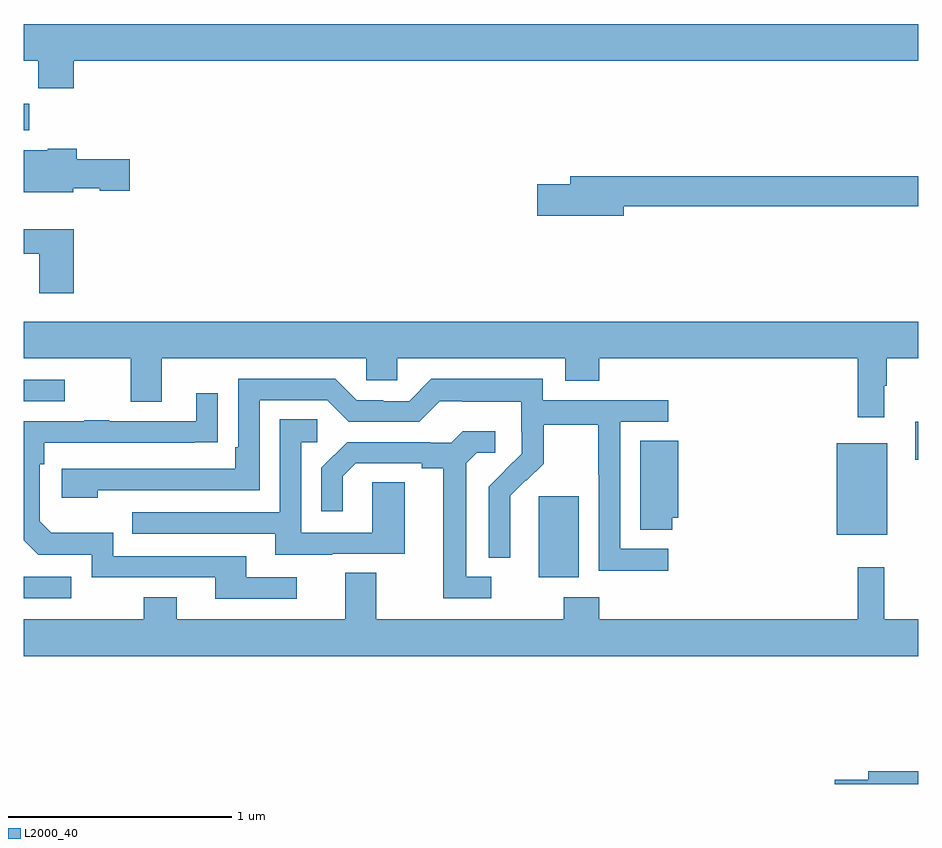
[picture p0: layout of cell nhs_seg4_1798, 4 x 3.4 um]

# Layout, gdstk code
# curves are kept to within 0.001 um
import gdstk
lib = gdstk.Library(unit=1e-6, precision=1e-09)
def R(c, l, rs):  # rectangles x0, y0, x1, y1
    for r in rs: c.add(gdstk.rectangle(r[:2], r[2:], *l))
def P(c, l, *ps):  # polygons
    for p in ps: c.add(gdstk.Polygon(p, *l))
L2000_40 = (2000, 40)

nhs_seg4_1798 = lib.new_cell('nhs_seg4_1798')
R(nhs_seg4_1798, L2000_40, [(203,811.731,203.212,811.827), (205.304,811.826,205.483,812.187), (206.636,812.015,206.863,812.425), (206.987,812.351,207,812.521), (203,812.613,203.182,812.709), (203,813.824,203.024,813.943)])
P(nhs_seg4_1798, L2000_40, [(203.222,814.136),(207,814.136),(207,814.3),(203,814.3),(203,814.136),(203.065,814.136),(203.065,814.012),(203.222,814.012)],
  [(203.22,813.566),(203.34,813.566),(203.34,813.554),(203.473,813.554),(203.473,813.696),(203.237,813.696),(203.237,813.742),(203.106,813.742),(203.106,813.736),(203,813.736),(203,813.548),(203.22,813.548)],
  [(205.684,813.484),(207,813.484),(207,813.62),(205.445,813.62),(205.445,813.584),(205.296,813.584),(205.296,813.442),(205.684,813.442)],
  [(203.222,813.382),(203,813.382),(203,813.273),(203.069,813.273),(203.069,813.096),(203.222,813.096)],
  [(206.848,812.681),(206.86,812.681),(206.86,812.804),(207,812.804),(207,812.968),(203,812.968),(203,812.804),(203.477,812.804),(203.477,812.61),(203.617,812.61),(203.617,812.804),(204.531,812.804),(204.531,812.706),(204.669,812.706),(204.669,812.804),(205.421,812.804),(205.421,812.705),(205.574,812.705),(205.574,812.804),(206.731,812.804),(206.731,812.541),(206.848,812.541)],
  [(205.882,811.953),(205.668,811.953),(205.668,812.52),(205.882,812.52),(205.882,812.616),(205.32,812.616),(205.32,812.713),(204.823,812.713),(204.723,812.613),(204.608,812.613),(204.608,812.616),(204.489,812.616),(204.393,812.712),(203.958,812.712),(203.958,812.407),(203.945,812.407),(203.945,812.31),(203.169,812.31),(203.169,812.18),(203.33,812.18),(203.33,812.214),(204.054,812.214),(204.054,812.616),(204.357,812.616),(204.453,812.52),(204.768,812.52),(204.861,812.613),(204.961,812.613),(204.961,812.609),(205.224,812.609),(205.224,812.475),(205.226,812.475),(205.226,812.378),(205.08,812.23),(205.08,811.912),(205.176,811.912),(205.175,812.189),(205.245,812.259),(205.248,812.256),(205.325,812.333),(205.325,812.508),(205.57,812.508),(205.57,812.284),(205.572,812.284),(205.572,811.855),(205.882,811.855)],
  [(204.22,811.824),(203.995,811.824),(203.995,811.92),(203.4,811.92),(203.4,812.023),(203.123,812.023),(203.07,812.076),(203.07,812.33),(203.09,812.33),(203.09,812.427),(203.867,812.428),(203.867,812.647),(203.771,812.647),(203.771,812.523),(203.381,812.523),(203.381,812.528),(203.269,812.528),(203.269,812.523),(203,812.523),(203,811.99),(203.064,811.926),(203.304,811.926),(203.304,811.824),(203.855,811.824),(203.855,811.728),(204.22,811.728)],
  [(204.379,811.929),(204.703,811.929),(204.703,812.249),(204.558,812.249),(204.558,812.025),(204.24,812.025),(204.24,812.43),(204.313,812.43),(204.313,812.531),(204.144,812.531),(204.144,812.115),(203.485,812.115),(203.485,812.019),(204.125,812.019),(204.125,811.925),(204.379,811.925)],
  [(205.09,811.827),(204.979,811.827),(204.979,812.335),(205.026,812.382),(205.108,812.382),(205.108,812.479),(204.964,812.479),(204.912,812.427),(204.818,812.427),(204.818,812.43),(204.446,812.43),(204.33,812.314),(204.33,812.121),(204.427,812.121),(204.427,812.277),(204.484,812.334),(204.779,812.334),(204.779,812.312),(204.875,812.312),(204.875,811.731),(205.09,811.731)],
  [(205.901,812.091),(205.928,812.091),(205.928,812.435),(205.757,812.435),(205.757,812.038),(205.901,812.038)],
  [(207,811.636),(206.849,811.636),(206.849,811.87),(206.731,811.87),(206.731,811.636),(205.574,811.636),(205.574,811.735),(205.414,811.735),(205.414,811.636),(204.577,811.636),(204.577,811.844),(204.437,811.844),(204.437,811.636),(203.683,811.636),(203.683,811.735),(203.536,811.735),(203.536,811.636),(203,811.636),(203,811.472),(207,811.472)],
  [(207,810.956),(206.777,810.956),(206.777,810.92),(206.628,810.92),(206.628,810.9),(207,810.9)])

lib.write_gds('nhs_seg4_1798.gds')
